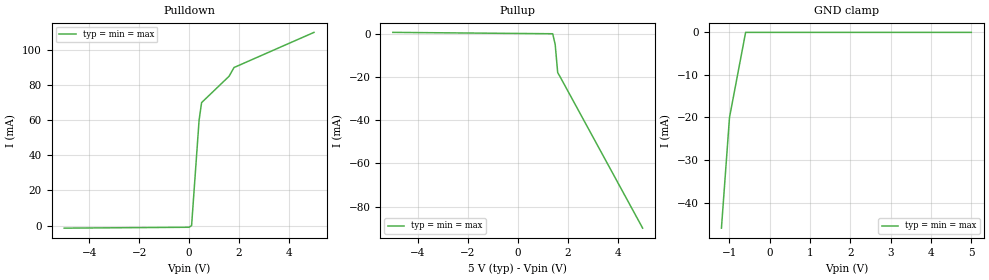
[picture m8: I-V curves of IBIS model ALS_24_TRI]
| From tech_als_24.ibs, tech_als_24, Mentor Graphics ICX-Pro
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[Model]		ALS_24_TRI
Model_type	3-state
Polarity	Non-Inverting
Enable		Active-High
Vmeas = 1.300000V
Cref = 50.000000pF
Vref = 0.0V
Rref = 0.500000k
|		typ		min		max
C_comp		5.000000pF		2.000000pF		8.000000pF
|			typ		min		max
[voltage range]	5.000000V		4.500000V		5.500000V
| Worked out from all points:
|   slope of the pulldown table from 0 to 0.75 V, typ, clamps not added: 10.1 ohm
|   slope of the pullup table from 0 to 0.75 V, typ, clamps not added: 10 kohm
|   GND clamp passes 1 mA (typ) near -0.62 V on its own axis
[Pulldown]
|	Voltage		I(typ)		I(min)		I(max)
-5V       -1.5mA     -1.5mA     -1.5mA
0V        -1mA       -1mA       -1mA
100mV     0A         0A         0A
400mV     60mA       60mA       60mA
500mV     70mA       70mA       70mA
1.6V      85mA       85mA       85mA
1.8V      90mA       90mA       90mA
5V        110mA      110mA      110mA
[Pullup]
|	Voltage		I(typ)		I(min)		I(max)
-5V       640uA      640uA      640uA
1.4V      0A         0A         0A
1.5V      -5mA       -5mA       -5mA
1.6V      -18mA      -18mA      -18mA
1.7V      -20mA      -20mA      -20mA
5V        -90mA      -90mA      -90mA
[Gnd Clamp]
|	Voltage		I(typ)		I(min)		I(max)
-1.2V     -46mA      -46mA      -46mA
-1V       -20mA      -20mA      -20mA
-700mV    -5mA       -5mA       -5mA
-600mV    0A         0A         0A
0V        0A         0A         0A
5V        0A         0A         0A
[Ramp]
|  variable	typ		min		max
dV/dt_r		1.15/1.200000ns	0.91/1.500000ns	1/1.000000ns
dV/dt_f		2.2/1.200000ns	1.42/1.500000ns	1/1.000000ns
R_load = 	50Ohms
